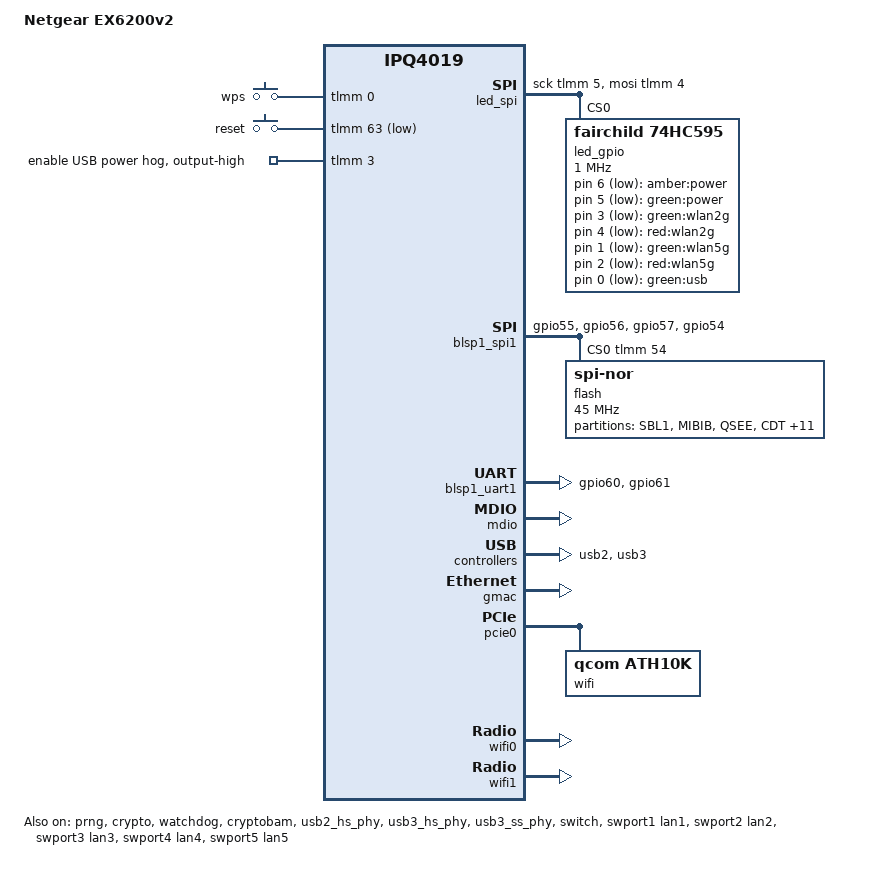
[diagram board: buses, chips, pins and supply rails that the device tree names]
/* Copyright (c) 2015, The Linux Foundation. All rights reserved.
 * Copyright (c) 2018, David Bauer <mail@david-bauer.net>
 *
 * Permission to use, copy, modify, and/or distribute this software for any
 * purpose with or without fee is hereby granted, provided that the above
 * copyright notice and this permission notice appear in all copies.
 *
 * THE SOFTWARE IS PROVIDED "AS IS" AND THE AUTHOR DISCLAIMS ALL WARRANTIES
 * WITH REGARD TO THIS SOFTWARE INCLUDING ALL IMPLIED WARRANTIES OF
 * MERCHANTABILITY AND FITNESS. IN NO EVENT SHALL THE AUTHOR BE LIABLE FOR
 * ANY SPECIAL, DIRECT, INDIRECT, OR CONSEQUENTIAL DAMAGES OR ANY DAMAGES
 * WHATSOEVER RESULTING FROM LOSS OF USE, DATA OR PROFITS, WHETHER IN AN
 * ACTION OF CONTRACT, NEGLIGENCE OR OTHER TORTIOUS ACTION, ARISING OUT OF
 * OR IN CONNECTION WITH THE USE OR PERFORMANCE OF THIS SOFTWARE.
 *
 */

#include "qcom-ipq4019.dtsi"
#include <dt-bindings/gpio/gpio.h>
#include <dt-bindings/input/input.h>
#include <dt-bindings/soc/qcom,tcsr.h>

/ {
	model = "Netgear EX6200v2";
	compatible = "netgear,ex6200v2";

	soc {
		tcsr@1949000 {
			compatible = "qcom,tcsr";
			reg = <0x1949000 0x100>;
			qcom,wifi_glb_cfg = <TCSR_WIFI_GLB_CFG>;
		};
		ess_tcsr@1953000 {
			compatible = "qcom,tcsr";
			reg = <0x1953000 0x1000>;
			qcom,ess-interface-select = <TCSR_ESS_PSGMII>;
		};

		tcsr@1957000 {
			compatible = "qcom,tcsr";
			reg = <0x1957000 0x100>;
			qcom,wifi_noc_memtype_m0_m2 = <TCSR_WIFI_NOC_MEMTYPE_M0_M2>;
		};

	};

	aliases {
		led-boot = &power_amber;
		led-failsafe = &power_amber;
		led-running = &power_green;
		led-upgrade = &power_amber;
		label-mac-device = &gmac;
	};

	keys {
		compatible = "gpio-keys";

		wps {
			label = "wps";
			gpios = <&tlmm 0 GPIO_ACTIVE_HIGH>;
			linux,code = <KEY_WPS_BUTTON>;
		};

		reset {
			label = "reset";
			gpios = <&tlmm 63 GPIO_ACTIVE_LOW>;
			linux,code = <KEY_RESTART>;
		};
	};

	led_spi {
		compatible = "spi-gpio";
		#address-cells = <1>;
		#size-cells = <0>;

		sck-gpios = <&tlmm 5 GPIO_ACTIVE_HIGH>;
		mosi-gpios = <&tlmm 4 GPIO_ACTIVE_HIGH>;
		num-chipselects = <0>;

		led_gpio: led_gpio@0 {
			compatible = "fairchild,74hc595";
			reg = <0>;
			gpio-controller;
			#gpio-cells = <2>;
			registers-number = <1>;
			spi-max-frequency = <1000000>;
		};
	};

	leds {
		compatible = "gpio-leds";

		power_amber: led-power-amber {
			label = "amber:power";
			gpios = <&led_gpio 6 GPIO_ACTIVE_LOW>;
		};

		power_green: led-power-green {
			label = "green:power";
			gpios = <&led_gpio 5 GPIO_ACTIVE_LOW>;
		};

		wlan2g_green {
			label = "green:wlan2g";
			gpios = <&led_gpio 3 GPIO_ACTIVE_LOW>;

		};

		wlan2g_red {
			label = "red:wlan2g";
			gpios = <&led_gpio 4 GPIO_ACTIVE_LOW>;

		};

		wlan5g_green {
			label = "green:wlan5g";
			gpios = <&led_gpio 1 GPIO_ACTIVE_LOW>;
		};

		wlan5g_red {
			label = "red:wlan5g";
			gpios = <&led_gpio 2 GPIO_ACTIVE_LOW>;
		};

		usb_green {
			label = "green:usb";
			gpios = <&led_gpio 0 GPIO_ACTIVE_LOW>;
			trigger-sources = <&usb2_port1>, <&usb3_port1>;
			linux,default-trigger = "usbport";
		};
	};

};

&tlmm {
	serial_pins: serial_pinmux {
		mux {
			pins = "gpio60", "gpio61";
			function = "blsp_uart0";
			bias-disable;
		};
	};

	spi_0_pins: spi_0_pinmux {
		pin {
			function = "blsp_spi0";
			pins = "gpio55", "gpio56", "gpio57";
			drive-strength = <12>;
			bias-disable;
		};
		pin_cs {
			function = "gpio";
			pins = "gpio54";
			drive-strength = <2>;
			bias-disable;
			output-high;
		};
	};

	enable-usb-power {
		gpio-hog;
		gpios = <3 GPIO_ACTIVE_HIGH>;
		output-high;
		line-name = "enable USB power";
	};	
};
&blsp1_spi1 {
	pinctrl-0 = <&spi_0_pins>;
	pinctrl-names = "default";
	status = "okay";
	cs-gpios = <&tlmm 54 GPIO_ACTIVE_HIGH>;

	flash@0 {
		compatible = "jedec,spi-nor";
		reg = <0>;
		spi-max-frequency = <45000000>;

		partitions {
			compatible = "fixed-partitions";
			#address-cells = <1>;
			#size-cells = <1>;

			partition0@0 {
				label = "SBL1";
				reg = <0x00000000 0x00040000>;
				read-only;
			};

			partition1@40000 {
				label = "MIBIB";
				reg = <0x00040000 0x00020000>;
				read-only;
			};

			partition2@60000 {
				label = "QSEE";
				reg = <0x00060000 0x00060000>;
				read-only;
			};

			partition3@c0000 {
				label = "CDT";
				reg = <0x000c0000 0x00010000>;
				read-only;
			};
			partition4@d0000 {
				label = "DDRPARAMS";
				reg = <0x000d0000 0x00010000>;
				read-only;
			};

			partition5@E0000 {
				label = "APPSBLENV";
				reg = <0x000e0000 0x00010000>;
				read-only;
			};

			partition6@F0000 {
				label = "APPSBL";
				reg = <0x000f0000 0x00080000>;
				read-only;
			};

			partition7@170000 {
				label = "ART";
				reg = <0x00170000 0x00010000>;
				compatible = "nvmem-cells";
				read-only;
				#address-cells = <1>;
				#size-cells = <1>;

				precal_art_1000: precal@1000 {
					reg = <0x1000 0x2f20>;
				};

				precal_art_5000: precal@5000 {
					reg = <0x5000 0x2f20>;
				};
			};

			partition8@180000 {
				label = "config";
				reg = <0x00180000 0x00010000>;
				read-only;
			};
			 partition9@190000 {
				label = "pot";
				reg = <0x00190000 0x00010000>;
				read-only;
			};

			partition10@1a0000 {
				compatible = "nvmem-cells";
				label = "dnidata";
				reg = <0x001a0000 0x00010000>;
				read-only;

				#address-cells = <1>;
				#size-cells = <1>;

				macaddr_dnidata_0: macaddr@0 {
					reg = <0x0 0x6>;
				};

				macaddr_dnidata_c: macaddr@c {
					reg = <0xc 0x6>;
				};
			};

			partition11@1b0000 {
				compatible = "denx,fit";
				label = "firmware";
				reg = <0x001b0000 0x00e10000>;
			};
			
			partition12@fc0000 {
				label = "rootfs";
				reg = <0x00fc0000 0x00aa0000>;
			};

			partition13@1a60000 {
				label = "rootfs_data";
				reg = <0x01a60000 0x00070000>;
			};

			partition14@1ad0000 {
				label = "language";
				reg = <0x01ad0000 0x00040000>;
				read-only;
			};
		};
	};
};

&blsp1_uart1 {
	pinctrl-0 = <&serial_pins>;
	pinctrl-names = "default";
	status = "okay";
};

&blsp_dma {
	status = "okay";
};

&prng {
	status = "okay";
};

&mdio {
	status = "okay";
};

&crypto {
	status = "okay";
};

&watchdog {
	status = "okay";
};

&cryptobam {
	status = "okay";
};

&usb2_hs_phy {
	status = "okay";
};

&usb3_hs_phy {
	status = "okay";
};

&usb3_ss_phy {
	status = "okay";
};

&usb2 {
	status = "okay";

	usb@6000000 {
		usb2_port1: port@1 {
			reg = <1>;
			#trigger-source-cells = <0>;
		};
	};
};

&usb3_dwc {
	usb3_port1: port@1 {
		reg = <1>;
		#trigger-source-cells = <0>;
	};
};

&usb3 {
	status = "okay";
};

&gmac {
	status = "okay";
};

&switch {
	status = "okay";
};

&swport1 {
	status = "okay";

	label = "lan1";
};

&swport2 {
	status = "okay";

	label = "lan2";
};

&swport3 {
	status = "okay";

	label = "lan3";
};

&swport4 {
	status = "okay";

	label = "lan4";
};

&swport5 {
	status = "okay";

	label = "lan5";
};

&pcie0 {
	status = "okay";

	perst-gpios = <&tlmm 38 GPIO_ACTIVE_LOW>;
	wake-gpios = <&tlmm 50 GPIO_ACTIVE_LOW>;

	bridge@0,0 {
		reg = <0x00000000 0 0 0 0>;
		#address-cells = <3>;
		#size-cells = <2>;
		ranges;
		
		wifi@1,0 {
			compatible = "qcom,ath10k";
			status = "okay";
			reg = <0x00010000 0 0 0 0>;
			ieee80211-freq-limit = <5470000 5875000>;
			qcom,ath10k-calibration-variant = "Netgear-Orbi-Pro-SRK60";
		};
	};
};


&wifi0 {
	status = "okay";
	nvmem-cell-names = "pre-calibration", "mac-address";
	nvmem-cells = <&precal_art_1000>, <&macaddr_dnidata_0>;
};

&wifi1 {
	status = "okay";
	nvmem-cell-names = "pre-calibration", "mac-address";
	nvmem-cells = <&precal_art_5000>, <&macaddr_dnidata_c>;
};
